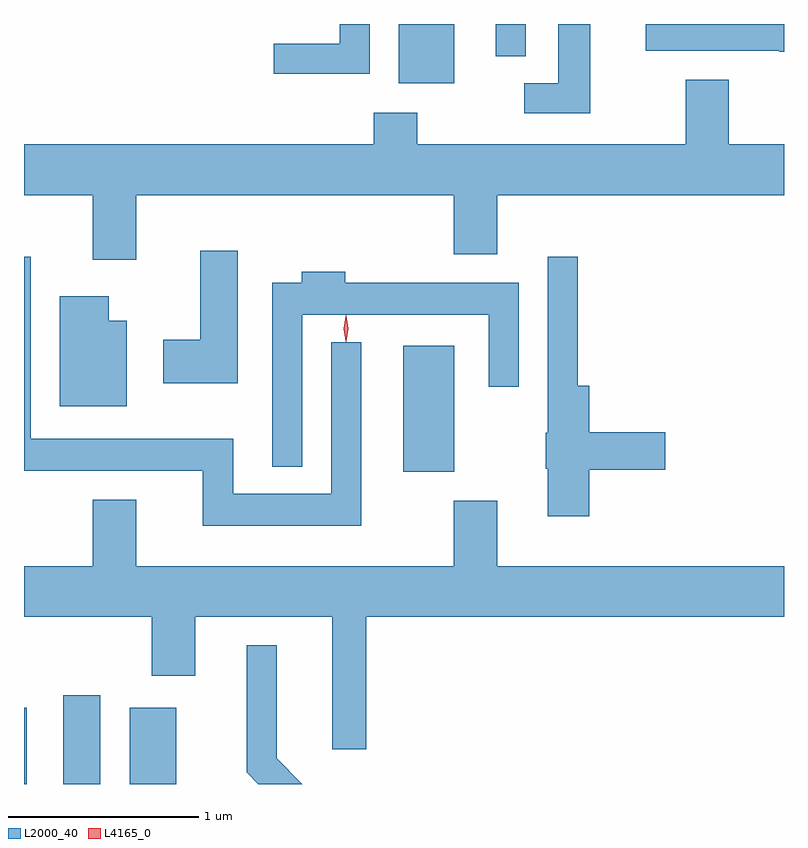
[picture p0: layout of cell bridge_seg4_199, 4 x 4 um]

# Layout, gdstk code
import gdstk
lib = gdstk.Library(unit=1e-6, precision=1e-09)
def R(c, l, rs):  # rectangles x0, y0, x1, y1
    for r in rs: c.add(gdstk.rectangle(r[:2], r[2:], *l))
def P(c, l, *ps):  # polygons
    for p in ps: c.add(gdstk.Polygon(p, *l))
L2000_40 = (2000, 40)
L4165_0 = (4165, 0)

bridge_seg4_199 = lib.new_cell('bridge_seg4_199')
R(bridge_seg4_199, L2000_40, [(987.669,1313.837,987.684,1314.239), (987.876,1313.837,988.069,1314.304), (988.226,1313.837,988.469,1314.239), (989.666,1315.481,989.934,1316.144), (989.641,1317.526,989.934,1317.837), (990.151,1317.668,990.309,1317.837)])
P(bridge_seg4_199, L2000_40, [(990.649,1317.837),(990.481,1317.837),(990.481,1317.524),(990.303,1317.524),(990.303,1317.366),(990.649,1317.366)],
  [(989.489,1317.837),(989.331,1317.837),(989.331,1317.734),(988.983,1317.734),(988.983,1317.576),(989.489,1317.576)],
  [(991.669,1317.837),(990.941,1317.837),(990.941,1317.696),(991.645,1317.696),(991.645,1317.691),(991.669,1317.691)],
  [(988.259,1316.936),(989.931,1316.936),(989.931,1316.626),(990.159,1316.626),(990.159,1316.936),(991.669,1316.936),(991.669,1317.204),(991.379,1317.204),(991.379,1317.544),(991.151,1317.544),(991.151,1317.204),(989.739,1317.204),(989.739,1317.369),(989.511,1317.369),(989.511,1317.204),(987.669,1317.204),(987.669,1316.936),(988.031,1316.936),(988.031,1316.596),(988.259,1316.596)],
  [(988.794,1316.644),(988.596,1316.644),(988.596,1316.174),(988.401,1316.174),(988.401,1315.946),(988.794,1315.946)],
  [(990.644,1315.491),(991.044,1315.491),(991.044,1315.689),(990.644,1315.689),(990.644,1315.934),(990.584,1315.934),(990.584,1316.613),(990.426,1316.613),(990.426,1315.685),(990.416,1315.685),(990.416,1315.495),(990.426,1315.495),(990.426,1315.246),(990.644,1315.246)],
  [(989.444,1316.163),(989.286,1316.163),(989.286,1315.364),(988.769,1315.364),(988.769,1315.654),(987.704,1315.654),(987.704,1316.613),(987.669,1316.613),(987.669,1315.486),(988.611,1315.486),(988.611,1315.196),(989.444,1315.196)],
  [(989.134,1316.306),(990.116,1316.306),(990.116,1315.928),(990.274,1315.928),(990.274,1316.474),(989.359,1316.474),(989.359,1316.534),(989.131,1316.534),(989.131,1316.474),(988.976,1316.474),(988.976,1315.508),(989.134,1315.508)],
  [(988.209,1316.274),(988.114,1316.274),(988.114,1316.404),(987.856,1316.404),(987.856,1315.826),(988.209,1315.826)],
  [(989.469,1314.716),(991.669,1314.716),(991.669,1314.984),(990.159,1314.984),(990.159,1315.329),(989.931,1315.329),(989.931,1314.984),(988.259,1314.984),(988.259,1315.334),(988.031,1315.334),(988.031,1314.984),(987.669,1314.984),(987.669,1314.716),(988.341,1314.716),(988.341,1314.406),(988.569,1314.406),(988.569,1314.716),(989.291,1314.716),(989.291,1314.021),(989.469,1314.021)],
  [(988.999,1313.972),(988.999,1314.568),(988.841,1314.568),(988.841,1313.899),(988.903,1313.837),(989.134,1313.837)])
P(bridge_seg4_199, L4165_0, [(989.362,1316.167),(989.353,1316.234),(989.362,1316.3),(989.363,1316.301),(989.363,1316.3),(989.373,1316.234),(989.363,1316.167),(989.363,1316.167)],
  [(989.365,1316.164),(989.365,1316.164),(989.355,1316.234),(989.365,1316.303),(989.365,1316.303),(989.366,1316.303),(989.375,1316.234),(989.366,1316.164)])

lib.write_gds('bridge_seg4_199.gds')
